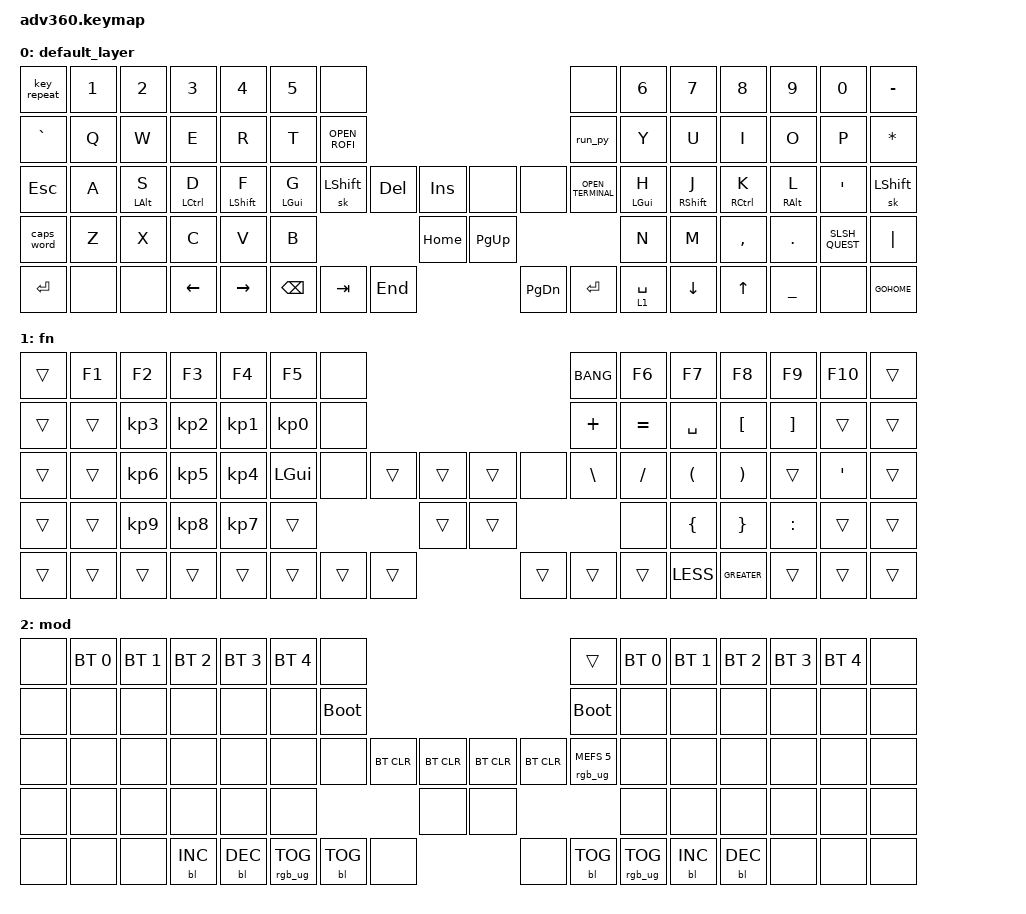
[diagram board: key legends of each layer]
#include <behaviors.dtsi>
#include "custom_keymap.h"
#include <dt-bindings/zmk/backlight.h>
#include <dt-bindings/zmk/bt.h>
#include <dt-bindings/zmk/keys.h>
#include <dt-bindings/zmk/rgb.h>

&sk {
    release-after-ms = <2000>;
    quick-release;

    /delete-property/ ignore-modifiers;
};

/ {
    behaviors {
        #include "macros.dtsi"
      #include "nav.dtsi"

        hm: homerow_mods {
            compatible = "zmk,behavior-hold-tap";
            label = "HOMEROW_MODS";
            #binding-cells = <2>;
            tapping-term-ms = <200>;
            quick_tap_ms = <175>;
            flavor = "tap-preferred";
            bindings = <&kp>, <&kp>;
        };
    };

    keymap {
        compatible = "zmk,keymap";

        default_layer {
            bindings = <
&key_repeat  &kp N1  &kp N2      &kp N3       &kp N4        &kp N5      &none                                                                               &none              &kp N6      &kp N7        &kp N8       &kp N9          &kp N0          &kp MINUS  
&kp GRAVE    &kp Q   &kp W       &kp E        &kp R         &kp T       &kp OPEN_ROFI                                                                       &run_py            &kp Y       &kp U         &kp I        &kp O           &kp P           &kp STAR   
&kp ESC      &kp A   &hm LALT S  &hm LCTRL D  &hm LSHIFT F  &hm LGUI G  &sk LSHIFT               &kp DELETE  &kp INSERT  &none      &none                   &kp OPEN_TERMINAL  &hm LGUI H  &hm RSHIFT J  &hm RCTRL K  &hm RALT L      &kp APOSTROPHE  &sk LSHIFT 
&caps_word   &kp Z   &kp X       &kp C        &kp V         &kp B                                            &kp HOME    &kp PG_UP                                             &kp N       &kp M         &kp COMMA    &kp DOT         &kp SLSH_QUEST  &kp PIPE   
&kp ENTER    &none   &none       &kp LEFT     &kp RIGHT                                &kp BSPC  &kp TAB     &kp END     &kp PG_DN  &kp ENTER  &lt 1 SPACE                                 &kp DOWN      &kp UP       &kp UNDERSCORE  &none           &kp GOHOME
      >;
        };

        fn {
            bindings = <
&trans  &kp F1  &kp F2     &kp F3     &kp F4     &kp F5     &none                                       &kp BANG       &kp F6     &kp F7     &kp F8       &kp F9     &kp F10           &trans
&trans  &trans  &kp KP_N3  &kp KP_N2  &kp KP_N1  &kp KP_N0  &none                                       &kp PLUS       &kp EQL    &kp SPACE  &kp LBKT     &kp RBKT   &trans            &trans
&trans  &trans  &kp KP_N6  &kp KP_N5  &kp KP_N4  &kp LGUI   &none   &trans  &trans      &trans  &none   &kp BACKSLASH  &kp SLASH  &kp LPAR   &kp RPAR     &trans     &kp SINGLE_QUOTE  &trans
&trans  &trans  &kp KP_N9  &kp KP_N8  &kp KP_N7  &trans                     &trans      &trans                         &none      &kp LBRC   &kp RBRC     &kp COLON  &trans            &trans
&trans  &trans  &trans     &trans     &trans                &trans  &trans  &trans      &trans  &trans  &trans                    &kp LESS   &kp GREATER  &trans     &trans            &trans
            >;
        };

        mod {
            bindings = <
&none  &bt BT_SEL 0  &bt BT_SEL 1  &bt BT_SEL 2  &bt BT_SEL 3  &bt BT_SEL 4  &none                                                                &trans                  &bt BT_SEL 0  &bt BT_SEL 1  &bt BT_SEL 2  &bt BT_SEL 3  &bt BT_SEL 4  &none
&none  &none         &none         &none         &none         &none         &bootloader                                                          &bootloader             &none         &none         &none         &none         &none         &none
&none  &none         &none         &none         &none         &none         &none            &bt BT_CLR  &bt BT_CLR      &bt BT_CLR  &bt BT_CLR  &rgb_ug RGB_MEFS_CMD 5  &none         &none         &none         &none         &none         &none
&none  &none         &none         &none         &none         &none                                      &none           &none                                           &none         &none         &none         &none         &none         &none
&none  &none         &none         &bl BL_INC    &bl BL_DEC                  &rgb_ug RGB_TOG  &bl BL_TOG  &none           &none       &bl BL_TOG  &rgb_ug RGB_TOG                       &bl BL_INC    &bl BL_DEC    &none         &none         &none
            >;
        };
    };
};
